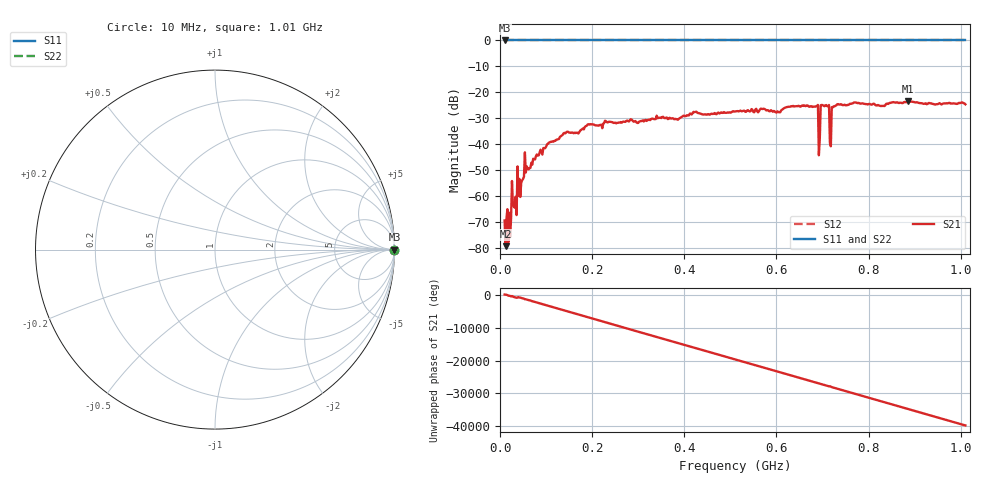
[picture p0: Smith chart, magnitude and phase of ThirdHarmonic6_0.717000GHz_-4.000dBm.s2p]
! 8/15/2025 11:57:52 PM
! C:\ANRITSUVNA\TEMP\TEMP.S2P
! CHANNEL.1
! TR.MEASUREMENT
! RAW.DATA
! RF.CORRECTION.OFF
! AVERAGING.OFF
! IF.BANDWIDTH: 5KHZ
! SWEEPTYPE:  FREQ.SWEEP(Linear)
! Reference Plane Port Info
! PORT:  PORT1  PORT2
! DISTANCE:  0  m  0  m
! TIME:  0  s  0  s
! PHASE.OFFSET:  0  deg.  0  deg.
! LOSS:  0  dB  0  dB
! REF.LOSS:  0  dB  0  dB
! REF.FREQ:  0  Hz  0  Hz
! Power Info
! POWER:  -20  dBm  -20  dBm
! EFF.POWER:  -20  dBm  -20  dBm
! SOURCE.ATTEN:  0  dB  0  dB
! TEST.ATTEN:  0  dB  0  dB
# GHZ S RI R 50.0
! FREQ.GHZ  S11RE  S11IM  S21RE  S21IM  S12RE  S12IM  S22RE  S22IM
!; PortSelection: Port_12
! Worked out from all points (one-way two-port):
!   501 points, 10 MHz to 1.01 GHz, reference 50 ohm
!   highest |S21| = -23.55 dB at 886 MHz (marker M1); lowest = -79.4 dB at 12 MHz (marker M2)
!   lowest |S11| = 0.0 dB at 10 MHz (marker M3)
!   |S11| at or under -10 dB: nowhere
!   |S22| runs from 0.0 to 0.0 dB; largest |S21 - S12| = 1.1
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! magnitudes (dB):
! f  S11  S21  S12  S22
! 10 MHz  0.0  -69.5  0.0  0.0
! 12 MHz  0.0  -79.4  0.0  0.0
! 20 MHz  0.0  -66.5  0.0  0.0
! 30 MHz  0.0  -63.9  0.0  0.0
! 32 MHz  0.0  -64.6  0.0  0.0
! 58 MHz  0.0  -48.6  0.0  0.0
! 178 MHz  0.0  -34.3  0.0  0.0
! 344 MHz  0.0  -29.9  0.0  0.0
! 510 MHz  0.0  -27.4  0.0  0.0
! 678 MHz  0.0  -25.7  0.0  0.0
! 686 MHz  0.0  -25.4  0.0  0.0
! 690 MHz  0.0  -24.9  0.0  0.0
! 696 MHz  0.0  -25.0  0.0  0.0
! 700 MHz  0.0  -24.9  0.0  0.0
! 710 MHz  0.0  -25.4  0.0  0.0
! 714 MHz  0.0  -24.9  0.0  0.0
! 720 MHz  0.0  -25.8  0.0  0.0
! 724 MHz  0.0  -25.4  0.0  0.0
! 732 MHz  0.0  -24.6  0.0  0.0
! 844 MHz  0.0  -24.3  0.0  0.0
! 886 MHz  0.0  -23.5  0.0  0.0
! 1.01 GHz  0.0  -24.7  0.0  0.0
